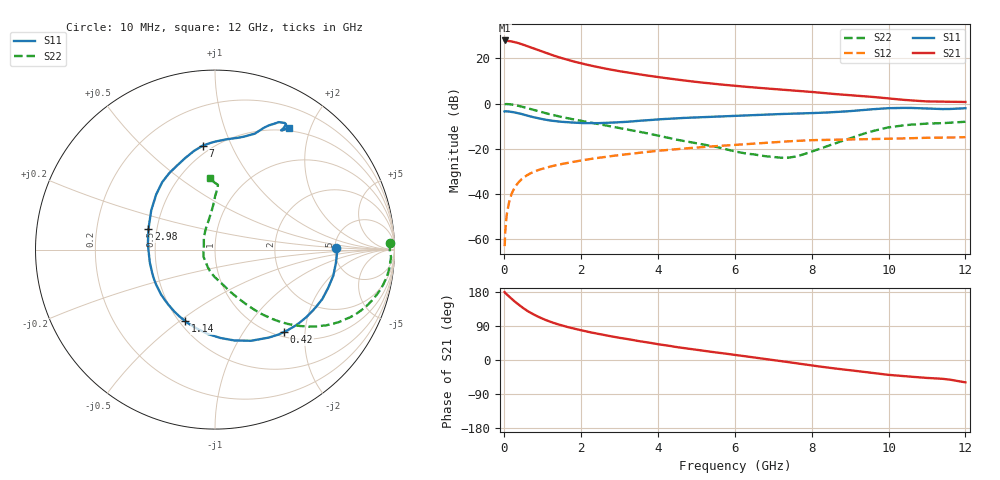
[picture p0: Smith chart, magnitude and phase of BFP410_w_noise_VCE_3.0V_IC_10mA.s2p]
! Infineon Technologies  Discrete & RF Semiconductors
! BFP410
! VCE =  3.0 V,  IC =  10 mA
! Common Emitter S-Parameters:  Nov 2015
# GHz  S  MA  R  50
!  f  S11  S21  S12  S22
! GHz  MAG  ANG  MAG  ANG  MAG  ANG  MAG  ANG
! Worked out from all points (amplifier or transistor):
!   243 points, 10 MHz to 12 GHz, reference 50 ohm
!   highest |S21| = 28.0 dB at 10 MHz (marker M1)
!   |S21| within 3 dB of that: start of sweep to 678.2 MHz
!   unconditionally stable (mu >= 1): 2.428 GHz to end of sweep
!   at 240 MHz: K = 0.17, MSG = 32.8 dB, |S12| = -38.2 dB
!   at 1.84 GHz: K = 0.85, MSG = 22.1 dB, |S12| = -25.6 dB
!   at 12 GHz: K = 1.04, MAG = 6.6 dB, |S12| = -14.8 dB
!   lowest NFmin = 1.28 dB at 900 MHz
!   S11 on the Smith chart (normalised r, x): 10 MHz: 5.09, +0.17; 420 MHz: 1.09, -1.56; 1.14 GHz: 0.54, -0.53; 2.98 GHz: 0.45, +0.12; 7 GHz: 0.45, +0.79; 12 GHz: 0.46, +1.68
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0.01  0.6718 0.8  25.06 179.1  0.0007 138.7  0.9762 2.3
0.06  0.677 -7.0  24.55 173.5  0.0032 85.5  0.9807 -3.1
0.15  0.6659 -18.5  24.14 165.4  0.0078 81.1  0.9697 -8.9
0.24  0.6476 -29.4  23.29 157.2  0.0123 76.8  0.9447 -14.1
0.34  0.6222 -41.1  22.23 148.8  0.0168 72.2  0.9083 -19.5
0.42  0.5988 -49.9  21.19 142.5  0.02 69.0  0.875 -23.3
0.5  0.5748 -58.5  20.13 136.6  0.023 66.2  0.8397 -26.8
0.6  0.5464 -68.4  18.77 129.7  0.0262 63.1  0.7956 -30.7
0.7  0.5179 -77.9  17.48 123.8  0.0292 60.6  0.7528 -34.0
0.9  0.4722 -94.8  15.11 113.3  0.0342 56.6  0.675 -39.5
1.14  0.4317 -112.5  12.77 103.3  0.0393 53.6  0.5957 -44.5
1.3  0.4133 -123.1  11.49 97.4  0.0424 52.0  0.5518 -47.3
1.56  0.3927 -138.0  9.825 89.5  0.0472 50.2  0.493 -50.9
2.02  0.373 -160.1  7.732 78.1  0.0555 47.5  0.4149 -55.8
2.42  0.37 -177.5  6.494 69.4  0.0626 45.2  0.3572 -59.8
2.98  0.3876 163.0  5.263 58.9  0.0724 41.9  0.2897 -65.6
4.1  0.4535 135.1  3.778 40.3  0.092 34.5  0.1886 -79.8
6.1  0.5416 106.7  2.44 12.1  0.1238 19.6  0.0843 -129.5
7  0.5838 96.6  2.115 -0.3  0.1393 12.6  0.0659 -169.2
8.2  0.6267 81.0  1.75 -17.1  0.1566 0.1  0.0994 126.2
10.2  0.7998 62.2  1.258 -40.9  0.1685 -15.5  0.3148 88.9
12  0.7924 58.8  1.089 -59.0  0.1813 -30.7  0.3975 93.8
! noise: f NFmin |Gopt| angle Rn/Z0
0.45  1.31  0.05  -19  0.16
0.9  1.28  0.04  1  0.16
1.8  1.42  0.03  -159  0.16
2.4  1.4  0.09  -121  0.17
5.5  2.27  0.35  -113  0.27
10  3.42  0.67  -49  1.87
